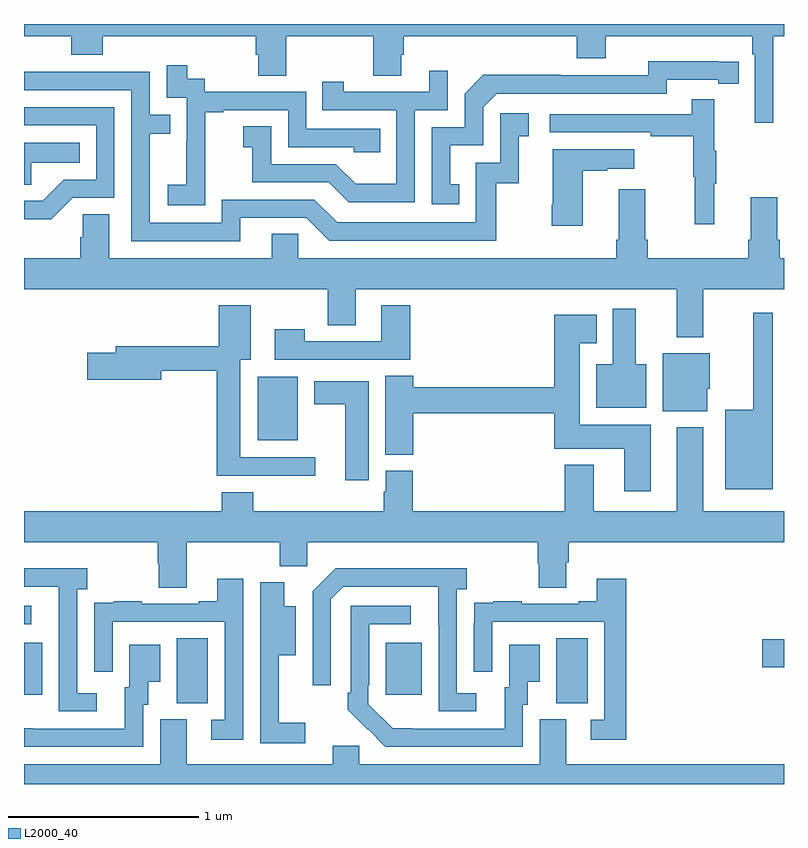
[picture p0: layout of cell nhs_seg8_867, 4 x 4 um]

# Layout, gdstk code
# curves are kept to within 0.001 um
import gdstk
lib = gdstk.Library(unit=1e-6, precision=1e-09)
def R(c, l, rs):  # rectangles x0, y0, x1, y1
    for r in rs: c.add(gdstk.rectangle(r[:2], r[2:], *l))
def P(c, l, *ps):  # polygons
    for p in ps: c.add(gdstk.Polygon(p, *l))
L2000_40 = (2000, 40)

nhs_seg8_867 = lib.new_cell('nhs_seg8_867')
R(nhs_seg8_867, L2000_40, [(167.804,1110.325,167.968,1110.668), (169.802,1110.325,169.966,1110.668), (167,1110.369,167.095,1110.643), (168.905,1110.369,169.093,1110.643), (170.886,1110.515,171,1110.662), (167,1110.741,167.038,1110.837), (168.23,1111.709,168.442,1112.044)])
P(nhs_seg8_867, L2000_40, [(167,1113.836),(167.249,1113.836),(167.249,1113.737),(167.414,1113.737),(167.414,1113.836),(168.221,1113.836),(168.221,1113.738),(168.233,1113.738),(168.233,1113.628),(168.381,1113.628),(168.381,1113.836),(168.838,1113.836),(168.838,1113.628),(168.985,1113.628),(168.985,1113.738),(168.998,1113.738),(168.998,1113.836),(169.91,1113.836),(169.91,1113.719),(170.062,1113.719),(170.062,1113.836),(170.834,1113.836),(170.834,1113.74),(170.847,1113.74),(170.847,1113.381),(170.944,1113.381),(170.944,1113.836),(171,1113.836),(171,1113.9),(167,1113.9)],
  [(169.292,1113.057),(169.243,1113.057),(169.243,1113.261),(169.416,1113.261),(169.416,1113.462),(169.488,1113.534),(170.382,1113.534),(170.382,1113.606),(170.654,1113.606),(170.654,1113.586),(170.762,1113.586),(170.762,1113.702),(170.286,1113.703),(170.286,1113.63),(169.826,1113.63),(169.826,1113.632),(169.418,1113.632),(169.32,1113.534),(169.32,1113.357),(169.146,1113.357),(169.146,1112.952),(169.292,1112.952)],
  [(167.955,1113.151),(167.954,1113.151),(167.954,1113.435),(168.049,1113.435),(168.049,1113.447),(168.39,1113.447),(168.39,1113.252),(168.735,1113.252),(168.735,1113.225),(168.875,1113.225),(168.875,1113.348),(168.486,1113.348),(168.486,1113.543),(167.952,1113.543),(167.952,1113.612),(167.86,1113.612),(167.86,1113.682),(167.751,1113.682),(167.751,1113.513),(167.856,1113.513),(167.856,1113.284),(167.855,1113.284),(167.855,1113.055),(167.757,1113.055),(167.757,1112.945),(167.955,1112.945)],
  [(169.056,1113.447),(169.23,1113.447),(169.23,1113.655),(169.133,1113.655),(169.133,1113.543),(168.682,1113.543),(168.682,1113.595),(168.571,1113.595),(168.571,1113.447),(168.96,1113.447),(168.96,1113.058),(168.746,1113.058),(168.642,1113.162),(168.3,1113.162),(168.3,1113.361),(168.153,1113.361),(168.153,1113.251),(168.202,1113.251),(168.202,1113.066),(168.605,1113.066),(168.71,1112.961),(169.056,1112.961)],
  [(168.139,1112.88),(168.486,1112.88),(168.606,1112.76),(169.486,1112.76),(169.486,1113.063),(169.604,1113.063),(169.604,1113.309),(169.657,1113.309),(169.657,1113.43),(169.506,1113.43),(169.506,1113.171),(169.377,1113.171),(169.377,1112.856),(168.648,1112.856),(168.528,1112.976),(168.042,1112.976),(168.042,1112.853),(167.661,1112.853),(167.661,1113.322),(167.771,1113.322),(167.771,1113.423),(167.661,1113.423),(167.661,1113.648),(167.165,1113.648),(167.165,1113.65),(167,1113.65),(167,1113.552),(167.565,1113.552),(167.565,1112.757),(168.139,1112.757)],
  [(170.633,1113.059),(170.644,1113.059),(170.644,1113.233),(170.633,1113.233),(170.633,1113.505),(170.515,1113.505),(170.515,1113.426),(169.767,1113.426),(169.767,1113.33),(170.299,1113.33),(170.299,1113.31),(170.523,1113.31),(170.523,1113.096),(170.53,1113.096),(170.53,1112.847),(170.633,1112.847)],
  [(167.256,1112.985),(167.475,1112.985),(167.475,1113.462),(167,1113.462),(167,1113.366),(167.379,1113.366),(167.379,1113.081),(167.21,1113.081),(167.099,1112.97),(167,1112.97),(167,1112.873),(167.143,1112.873)],
  [(167.037,1113.17),(167.294,1113.17),(167.294,1113.274),(167,1113.274),(167,1113.055),(167.037,1113.055)],
  [(169.942,1113.127),(170.069,1113.127),(170.069,1113.137),(170.212,1113.137),(170.212,1113.241),(169.784,1113.241),(169.784,1112.95),(169.777,1112.95),(169.777,1112.838),(169.942,1112.838)],
  [(170.575,1112.504),(171,1112.504),(171,1112.668),(170.978,1112.668),(170.978,1112.764),(170.965,1112.764),(170.965,1112.989),(170.825,1112.989),(170.825,1112.764),(170.813,1112.764),(170.813,1112.668),(170.282,1112.668),(170.282,1112.764),(170.269,1112.764),(170.269,1113.031),(170.129,1113.031),(170.129,1112.764),(170.117,1112.764),(170.117,1112.668),(168.444,1112.668),(168.444,1112.795),(168.305,1112.795),(168.305,1112.668),(167.449,1112.668),(167.449,1112.9),(167.31,1112.9),(167.31,1112.777),(167.297,1112.777),(167.297,1112.668),(167,1112.668),(167,1112.504),(168.598,1112.504),(168.598,1112.314),(168.745,1112.314),(168.745,1112.504),(170.435,1112.504),(170.435,1112.252),(170.575,1112.252)],
  [(169.034,1112.419),(168.881,1112.419),(168.881,1112.229),(168.477,1112.229),(168.477,1112.293),(168.321,1112.293),(168.321,1112.133),(169.034,1112.133)],
  [(168.532,1111.62),(168.139,1111.62),(168.139,1112.132),(168.193,1112.132),(168.193,1112.419),(168.026,1112.419),(168.026,1112.203),(167.483,1112.203),(167.483,1112.169),(167.334,1112.169),(167.334,1112.027),(167.722,1112.027),(167.722,1112.074),(168.014,1112.074),(168.014,1111.523),(168.532,1111.523)],
  [(170.275,1112.11),(170.221,1112.11),(170.221,1112.401),(170.099,1112.401),(170.099,1112.11),(170.012,1112.11),(170.012,1111.88),(170.275,1111.88)],
  [(170.941,1112.38),(170.837,1112.38),(170.837,1111.87),(170.69,1111.87),(170.69,1111.451),(170.941,1111.451)],
  [(170.299,1111.792),(169.924,1111.792),(169.924,1112.219),(170.014,1112.219),(170.014,1112.371),(169.79,1112.371),(169.79,1111.988),(169.049,1111.988),(169.049,1112.048),(168.902,1112.048),(168.902,1111.633),(169.049,1111.633),(169.049,1111.852),(169.79,1111.852),(169.79,1111.664),(170.159,1111.664),(170.159,1111.44),(170.299,1111.44)],
  [(170.596,1111.98),(170.608,1111.98),(170.608,1112.167),(170.363,1112.167),(170.363,1111.862),(170.596,1111.862)],
  [(168.814,1112.02),(168.527,1112.02),(168.527,1111.898),(168.692,1111.898),(168.692,1111.5),(168.814,1111.5)],
  [(171,1111.336),(170.575,1111.336),(170.575,1111.777),(170.435,1111.777),(170.435,1111.336),(169.999,1111.336),(169.999,1111.579),(169.847,1111.579),(169.847,1111.336),(169.046,1111.336),(169.046,1111.548),(168.905,1111.548),(168.905,1111.437),(168.893,1111.437),(168.893,1111.336),(168.206,1111.336),(168.206,1111.435),(168.041,1111.435),(168.041,1111.336),(167,1111.336),(167,1111.172),(167.705,1111.172),(167.705,1111.059),(167.71,1111.059),(167.71,1110.934),(167.857,1110.934),(167.857,1111.172),(168.346,1111.172),(168.346,1111.046),(168.492,1111.046),(168.492,1111.172),(169.703,1111.172),(169.703,1111.059),(169.708,1111.059),(169.708,1110.934),(169.855,1110.934),(169.855,1111.066),(169.868,1111.066),(169.868,1111.172),(171,1111.172)],
  [(167.383,1110.378),(167.28,1110.378),(167.28,1110.926),(167.332,1110.926),(167.332,1111.036),(167,1111.036),(167,1110.939),(167.183,1110.939),(167.183,1110.739),(167.184,1110.739),(167.184,1110.282),(167.383,1110.282)],
  [(169.381,1110.378),(169.278,1110.378),(169.278,1110.926),(169.33,1110.926),(169.33,1111.036),(168.64,1111.036),(168.519,1110.915),(168.519,1110.42),(168.615,1110.42),(168.615,1110.873),(168.681,1110.939),(169.181,1110.939),(169.182,1110.282),(169.381,1110.282)],
  [(170.171,1110.979),(170.015,1110.979),(170.015,1110.862),(169.919,1110.862),(169.919,1110.849),(169.619,1110.849),(169.619,1110.862),(169.471,1110.862),(169.471,1110.855),(169.369,1110.855),(169.369,1110.746),(169.368,1110.746),(169.368,1110.492),(169.464,1110.492),(169.464,1110.753),(170.055,1110.753),(170.055,1110.237),(169.983,1110.237),(169.983,1110.132),(170.171,1110.132)],
  [(168.153,1110.979),(168.017,1110.979),(168.017,1110.862),(167.921,1110.862),(167.921,1110.849),(167.621,1110.849),(167.621,1110.862),(167.473,1110.862),(167.473,1110.855),(167.371,1110.855),(167.371,1110.746),(167.37,1110.746),(167.37,1110.492),(167.466,1110.492),(167.466,1110.753),(168.057,1110.753),(168.057,1110.237),(167.985,1110.237),(167.985,1110.132),(168.153,1110.132)],
  [(168.481,1110.223),(168.341,1110.223),(168.341,1110.578),(168.43,1110.578),(168.43,1110.835),(168.37,1110.835),(168.37,1110.961),(168.243,1110.961),(168.243,1110.114),(168.481,1110.114)],
  [(169.626,1110.318),(169.651,1110.318),(169.651,1110.437),(169.714,1110.437),(169.714,1110.634),(169.553,1110.634),(169.553,1110.408),(169.529,1110.408),(169.529,1110.192),(168.942,1110.193),(168.813,1110.321),(168.813,1110.421),(168.816,1110.421),(168.816,1110.741),(169.036,1110.741),(169.036,1110.837),(168.72,1110.837),(168.72,1110.379),(168.705,1110.379),(168.705,1110.291),(168.902,1110.096),(169.626,1110.096)],
  [(167.628,1110.318),(167.653,1110.318),(167.653,1110.437),(167.716,1110.437),(167.716,1110.634),(167.555,1110.634),(167.555,1110.408),(167.531,1110.408),(167.531,1110.192),(167.047,1110.192),(167.047,1110.193),(167,1110.193),(167,1110.096),(167.628,1110.096)],
  [(171,1110.004),(169.855,1110.004),(169.855,1110.24),(169.715,1110.24),(169.715,1110.004),(168.765,1110.004),(168.765,1110.102),(168.626,1110.102),(168.626,1110.004),(167.857,1110.004),(167.857,1110.24),(167.717,1110.24),(167.717,1110.004),(167,1110.004),(167,1109.9),(171,1109.9)])

lib.write_gds('nhs_seg8_867.gds')
